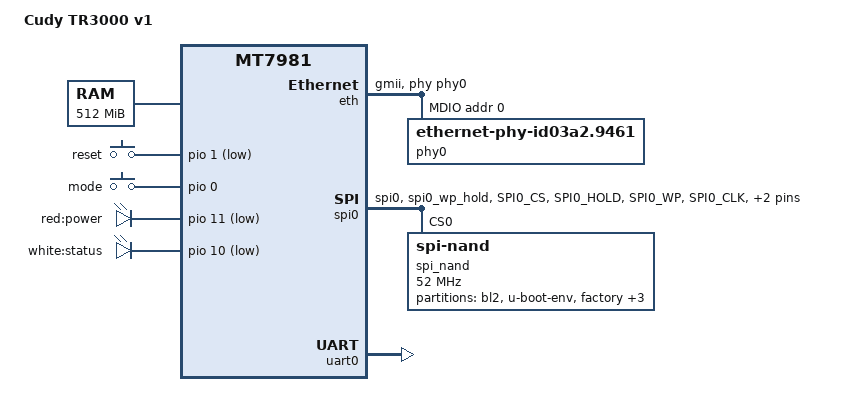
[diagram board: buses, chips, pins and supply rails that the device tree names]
// SPDX-License-Identifier: GPL-2.0-or-later

/dts-v1/;
#include "mt7981.dtsi"
#include <dt-bindings/gpio/gpio.h>
#include <dt-bindings/input/linux-event-codes.h>

/ {
	#address-cells = <1>;
	#size-cells = <1>;
	model = "Cudy TR3000 v1";
	compatible = "mediatek,mt7981", "mediatek,mt7981-rfb";

	chosen {
		stdout-path = &uart0;
		tick-timer = &timer0;
	};

	memory@40000000 {
		device_type = "memory";
		reg = <0x40000000 0x20000000>;
	};

	gpio-keys {
		compatible = "gpio-keys";

		button-reset {
			label = "reset";
			linux,code = <KEY_RESTART>;
			gpios = <&pio 1 GPIO_ACTIVE_LOW>;
		};

		button-mode {
			label = "mode";
			linux,code = <EV_SW>;
			linux,input-type = <BTN_0>;
			gpios = <&pio 0 GPIO_ACTIVE_HIGH>;
			debounce-interval = <60>;
		};
	};

	gpio-leds {
		compatible = "gpio-leds";

		led_status: led-0 {
			label = "red:power";
			gpios = <&pio 11 GPIO_ACTIVE_LOW>;
			default-state = "on";
		};

		led-1 {
			label = "white:status";
			gpios = <&pio 10 GPIO_ACTIVE_LOW>;
			default-state = "off";
		};
	};
};

&eth {
	status = "okay";
	mediatek,gmac-id = <1>;
	phy-mode = "gmii";
	phy-handle = <&phy0>;

	mdio {
		phy0: ethernet-phy@0 {
			compatible = "ethernet-phy-id03a2.9461";
			reg = <0x0>;
			phy-mode = "gmii";
		};
	};
};

&pio {
	spi_flash_pins: spi0-pins-func-1 {
		mux {
			function = "flash";
			groups = "spi0", "spi0_wp_hold";
		};

		conf-pu {
			pins = "SPI0_CS", "SPI0_HOLD", "SPI0_WP";
			drive-strength = <MTK_DRIVE_8mA>;
			bias-pull-up = <MTK_PUPD_SET_R1R0_00>;
		};

		conf-pd {
			pins = "SPI0_CLK", "SPI0_MOSI", "SPI0_MISO";
			drive-strength = <MTK_DRIVE_8mA>;
			bias-pull-down = <MTK_PUPD_SET_R1R0_00>;
		};
	};
};

&spi0 {
	#address-cells = <1>;
	#size-cells = <0>;
	pinctrl-names = "default";
	pinctrl-0 = <&spi_flash_pins>;
	status = "okay";
	must_tx;
	enhance_timing;
	dma_ext;
	ipm_design;
	support_quad;
	tick_dly = <2>;
	sample_sel = <0>;

	spi_nand@0 {
		compatible = "spi-nand";
		reg = <0>;
		spi-max-frequency = <52000000>;

		partitions {
			compatible = "fixed-partitions";
			#address-cells = <1>;
			#size-cells = <1>;

			partition@0 {
				label = "bl2";
				reg = <0x0 0x100000>;
			};

			partition@100000 {
				label = "u-boot-env";
				reg = <0x100000 0x80000>;
			};

			partition@180000 {
				label = "factory";
				reg = <0x180000 0x200000>;
			};

			partition@380000 {
				label = "bdinfo";
				reg = <0x380000 0x40000>;
			};

			partition@3c0000 {
				label = "fip";
				reg = <0x3c0000 0x200000>;
			};

			partition@5c0000 {
				label = "ubi";
				reg = <0x5c0000 0x7a40000>;
				compatible = "linux,ubi";
			};
		};
	};
};

&uart0 {
	mediatek,force-highspeed;
	status = "okay";
};

&watchdog {
	status = "disabled";
};
